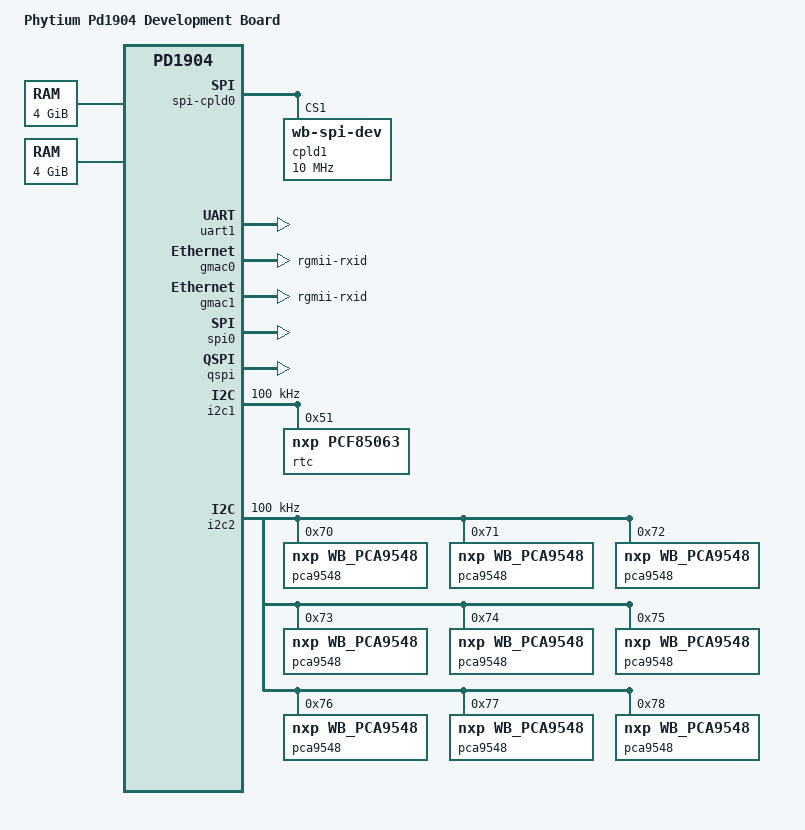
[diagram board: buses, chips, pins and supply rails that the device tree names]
// SPDX-License-Identifier: GPL-2.0
/*
 * DTS file for Phytium Pd1904 Development Board
 *
 * Copyright (c) 2018-2024 Phytium Technology Co., Ltd.
 */

/dts-v1/;
/memreserve/ 0x80000000 0x10000;

#include <ft2004v1-generic-psci-soc.dtsi>

/{
	model = "Phytium Pd1904 Development Board";
	compatible = "phytium,pd1904-devboard", "phytium,pd1904";
	#address-cells = <2>;
	#size-cells = <2>;

	chosen {
		stdout-path = "uart1:115200n8";
	};

	memory@00{
		device_type = "memory";
		reg = <0x0 0x80000000 0x1 0x00000000>;
	};

	memory@01{
		device_type = "memory";
		reg = <0x20 0x00000000 0x1 0x00000000>;
	};

/*	firmware {
		optee {
			compatible = "linaro,optee-tz";
			method = "smc";
		};
	};*/

    /* CPU通过一个GPIO产生方波，以此来发送喂狗信号给底板CPLD */
    hw_watchdog {
        compatible = "snps,ft-wdt";
        gpio_base=<0x28004000>;     /* GPIO基地址 */
        gpio_size=<0x100>;
        gpio_wdi=<15>;              /* GPIO0_A6中断后，会去设置GPIO0_B7，产生方波，让CPU发送喂狗信号给底板CPLD */
        gpio_irq=<6>;               /* GPIO0_A6接收CPLD产生的方波，产生中断 */
        irq_type=<0x00000001>;      /* GPIO0_A6 GPIO中断触发类型：1 - 上升沿 2 - 下降沿，4 - 高电平，8 - 低电平 */
        timeout_ms=<10>;
    };
        
    /* CPU板上的CPLD，通过LPC总线进行访问 */
    cpld0 {
        io_dev_name = "cpld0";
        compatible = "wb-io-dev";
        io_type = /bits/ 8 <0x1>;       /* 0:ioport, 1:iomen */
        io_base = <0x20000000>;
        io_len  = <0x0100>;
    };

    /* CPU板上的CPLD模拟的SPI控制器 */
    spi-cpld0 {
        compatible = "spi-cpld";
        reg = <0x0 0x20000000 0x0 0x100000>;
        #address-cells = <1>;
        #size-cells = <0>;

        /* CPLD模拟的SPI控制器下挂了3个CPLD，分别为主CPLD、从CPLD、风扇板CPLD，3个CPLD只使用了一个片选，
         * CPLD通过地址来进行区分。作为SPI设备，其在SPI master注册时会被创建出来 */
        cpld1:cpld1 {
            compatible = "wb-spi-dev";
            reg = <0x1>;                         /* 指定spi设备使用的片选信号。即spi->chip_select */
            spi-max-frequency = <10000000>;      /* 指定spi设备工作的最大频率。即spi->max_speed_hz */

            spi_dev_name      = "cpld1";         /* 生成的misc设备的名称 */
            data_bus_width    = <1>;             /* spi设备的数据位宽，单位B */
            addr_bus_width    = <2>;             /* spi设备的地址位宽，单位B。该设备采用cmd(1B) + addr(2B) + data(1-8B)的数据格式 */
            per_rd_len        = <1>;             /* 一次SPI数据传输，最大读取的数据长度。目前是由于spi控制器数据buf最大为8B，但cpld按1B读写，故这里只能配1 */
            per_wr_len        = <1>;             /* 一次SPI数据传输，最大写入的数据长度。目前是由于spi控制器数据buf最大为8B，但cpld按1B读写，故这里只能配1 */
            spi_len           = <0x10000>;
        };
        
        //fan-cpld-flash {
          //  compatible = "jedec,spi-nor";
          //  reg = <0x2>;                        /* 片选2 */
          //  spi-max-frequency = <1000000>;      /* SPI设备操作的最大频率 */
            /* 1. 鉴于该Flash支持MODE0和MODE3，CS#，数据MSB先出，4线SPI模式, 故如下的配置不添加：
             * spi-cpha;spi-cpol;spi-cs-high;spi-3wire;spi-lsb-first;spi-tx-bus-width = <0x1>;
             * spi-rx-bus-width = <0x1>;
             * 2. 如有必要，代码中对spi设备的bits_per_word进行适配，然后进行spi_setup
             * dts抽出的spi设备，其数据位宽bits_per_word默认设置成8. 该变量需要与控制器一致
             */
        //};
    };
    
    watchdog@2800a000 {
        compatible = "arm,sbsa-gwdt";
        #address-cells = <2>;
        #size-cells = <2>;
        reg = <0x0 0x2800a000 0 0x1000>,
              <0x0 0x2800b000 0 0x1000>;
        interrupts = <GIC_SPI 48 IRQ_TYPE_LEVEL_HIGH>;
        timeout-sec = <10>;
    };
};

&uart1 {
	status = "ok";
};

&gmac0 {
	status = "ok";
	phy-mode = "rgmii-rxid";
};

&gmac1 {
	status = "ok";
	phy-mode = "rgmii-rxid";
};

&spi0 {
	status = "ok";
};

&qspi {
	status = "ok";
};

&i2c1 {
    clock-frequency = <100000>;
    
    /* sda保持时间配置，保证I2C外设不会因为SDA的保持时间不够而报I2C TX abort：lost arbitrary的错误 */
    i2c-sda-hold-time-ns = <100>;

    /* 只有status = "ok" or "okay"的I2C设备节点才会被创建出平台设备 */
    status = "ok";
    
    #address-cells = <1>;
    #size-cells = <0>;
    
    rtc@51 {
        compatible = "nxp,pcf85063";
        reg = <0x51>;
        cap-mode = <0x1>;
        clock-freq = <0x7>;
    };
};

&i2c2 {
    clock-frequency = <100000>;
    
    /* sda保持时间配置，保证I2C外设不会因为SDA的保持时间不够而报I2C TX abort：lost arbitrary的错误 */
    i2c-sda-hold-time-ns = <100>;
    
    status = "ok";
    
    #address-cells = <1>;
    #size-cells = <0>;
    
    /************** 主CPLD上模拟的PCA9548, PCA9548复位通过主CPLD内部寄存器进行控制 **************/
    pca9548@70 {
        /* 通过id_table和驱动匹配 */
        compatible = "nxp,wb_pca9548";
        
        /* 用来指定pca9548的i2c从地址 */
        reg = <0x70>;
        
        /* 用来指明其从设备reg的属性只有一个addr单元 */
        #address-cells = <1>;
        #size-cells = <0>;

        probe_disable;                      /* 启动过程中，不做smbus读写，直接创建出I2C设备 */

        select_chan_check;                  /* 开启9548通道时，检查是否打开通道成功，如果失败，会进行PCA9548复位 */
        close_chan_force_reset;             /* 关闭9548通道时，强制进行PCA9548复位 */
        
        pca9548_reset_type = <4>;           /* 1:I2C  2:GPIO  3:IO  4:FILE */
        /* 复位前 + 复位过程 + 复位后 的延迟时间，单位us */
        rst_delay_b = <1>;
        rst_delay   = <2>;                   /* S6231 CPLD模拟的PCA9548复位时间间隔约为120ns，故这里设备为2us */
        rst_delay_a = <1>;
        dev_name  = "/dev/cpld1";            /* 复位时，要操作的设备文件 */
        offset    = <0x205c>;                /* 复位时，要操作的寄存器地址 */
        mask      = <0x01>;                  /* 掩码，要操作哪个bit，就把哪个bit置1 */
        reset_on  = <0x00>;                  /* 低电平复位时，则填0；否则和mask一致 */
        reset_off = <0x01>;                  /* 低电平复位时，和mask一致，否则填0 */
    };
    
    pca9548@71 {
        compatible = "nxp,wb_pca9548";
        reg = <0x71>;
        #address-cells = <1>;
        #size-cells = <0>;

        probe_disable;                      /* 启动过程中，不做smbus读写，直接创建出I2C设备 */

        select_chan_check;                  /* 开启9548通道时，检查是否打开通道成功，如果失败，会进行PCA9548复位 */
        close_chan_force_reset;             /* 关闭9548通道时，强制进行PCA9548复位 */
        
        pca9548_reset_type = <4>;           /* 1:I2C  2:GPIO  3:IO  4:FILE */
        rst_delay_b = <1>;
        rst_delay   = <2>;
        rst_delay_a = <1>;

        dev_name  = "/dev/cpld1";            /* 复位时，要操作的设备文件 */
        offset    = <0x205c>;                /* 复位时，要操作的寄存器地址 */
        mask      = <0x02>;                  /* 掩码，要操作哪个bit，就把哪个bit置1 */
        reset_on  = <0x00>;
        reset_off = <0x02>;
    };
    
    pca9548@72 {
        compatible = "nxp,wb_pca9548";
        reg = <0x72>;
        #address-cells = <1>;
        #size-cells = <0>;
        probe_disable;                      /* 启动过程中，不做smbus读写，直接创建出I2C设备 */

        select_chan_check;                  /* 开启9548通道时，检查是否打开通道成功，如果失败，会进行PCA9548复位 */
        close_chan_force_reset;             /* 关闭9548通道时，强制进行PCA9548复位 */
        
        pca9548_reset_type = <4>;           /* 1:I2C  2:GPIO  3:IO  4:FILE */
        rst_delay_b = <1>;
        rst_delay   = <2>;
        rst_delay_a = <1>;

        dev_name  = "/dev/cpld1";            /* 复位时，要操作的设备文件 */
        offset    = <0x205c>;                /* 复位时，要操作的寄存器地址 */
        mask      = <0x04>;                  /* 掩码，要操作哪个bit，就把哪个bit置1 */
        reset_on  = <0x00>;
        reset_off = <0x04>;
    };
    
    pca9548@73 {
        compatible = "nxp,wb_pca9548";
        reg = <0x73>;
        #address-cells = <1>;
        #size-cells = <0>;
        probe_disable;                      /* 启动过程中，不做smbus读写，直接创建出I2C设备 */

        select_chan_check;                  /* 开启9548通道时，检查是否打开通道成功，如果失败，会进行PCA9548复位 */
        close_chan_force_reset;             /* 关闭9548通道时，强制进行PCA9548复位 */
        
        pca9548_reset_type = <4>;           /* 1:I2C  2:GPIO  3:IO  4:FILE */
        rst_delay_b = <1>;
        rst_delay   = <2>;
        rst_delay_a = <1>;

        dev_name  = "/dev/cpld1";            /* 复位时，要操作的设备文件 */
        offset    = <0x205c>;                /* 复位时，要操作的寄存器地址 */
        mask      = <0x08>;                  /* 掩码，要操作哪个bit，就把哪个bit置1 */
        reset_on  = <0x00>;
        reset_off = <0x08>;

        mux-2@2{
            #address-cells = <1>;
            #size-cells = <0>;
            reg = <2>;
        };
    };
    
    /************** 从CPLD上模拟的PCA9548 **************/
    pca9548@74 {
        compatible = "nxp,wb_pca9548";
        reg = <0x74>;
        #address-cells = <1>;
        #size-cells = <0>;
        probe_disable;                      /* 启动过程中，不做smbus读写，直接创建出I2C设备 */

        select_chan_check;                  /* 开启9548通道时，检查是否打开通道成功，如果失败，会进行PCA9548复位 */
        close_chan_force_reset;             /* 关闭9548通道时，强制进行PCA9548复位 */
        
        pca9548_reset_type = <4>;           /* 1:I2C  2:GPIO  3:IO  4:FILE */
        rst_delay_b = <1>;
        rst_delay   = <2>;
        rst_delay_a = <1>;

        dev_name  = "/dev/cpld1";            /* 复位时，要操作的设备文件 */
        offset    = <0x404a>;                /* 复位时，要操作的寄存器地址 */
        mask      = <0x01>;                  /* 掩码，要操作哪个bit，就把哪个bit置1 */
        reset_on  = <0x00>;
        reset_off = <0x01>;
    };
    
    pca9548@75 {
        compatible = "nxp,wb_pca9548";
        reg = <0x75>;
        #address-cells = <1>;
        #size-cells = <0>;
        probe_disable;                      /* 启动过程中，不做smbus读写，直接创建出I2C设备 */

        select_chan_check;                  /* 开启9548通道时，检查是否打开通道成功，如果失败，会进行PCA9548复位 */
        close_chan_force_reset;             /* 关闭9548通道时，强制进行PCA9548复位 */
        
        pca9548_reset_type = <4>;           /* 1:I2C  2:GPIO  3:IO  4:FILE */
        rst_delay_b = <1>;
        rst_delay   = <2>;
        rst_delay_a = <1>;

        dev_name  = "/dev/cpld1";            /* 复位时，要操作的设备文件 */
        offset    = <0x404a>;                /* 复位时，要操作的寄存器地址 */
        mask      = <0x02>;                  /* 掩码，要操作哪个bit，就把哪个bit置1 */
        reset_on  = <0x00>;
        reset_off = <0x02>;
    };
    
    pca9548@76 {
        compatible = "nxp,wb_pca9548";
        reg = <0x76>;
        #address-cells = <1>;
        #size-cells = <0>;
        probe_disable;                      /* 启动过程中，不做smbus读写，直接创建出I2C设备 */

        select_chan_check;                  /* 开启9548通道时，检查是否打开通道成功，如果失败，会进行PCA9548复位 */
        close_chan_force_reset;             /* 关闭9548通道时，强制进行PCA9548复位 */
        
        pca9548_reset_type = <4>;           /* 1:I2C  2:GPIO  3:IO  4:FILE */
        rst_delay_b = <1>;
        rst_delay   = <2>;
        rst_delay_a = <1>;

        dev_name  = "/dev/cpld1";            /* 复位时，要操作的设备文件 */
        offset    = <0x404a>;                /* 复位时，要操作的寄存器地址 */
        mask      = <0x04>;                  /* 掩码，要操作哪个bit，就把哪个bit置1 */
        reset_on  = <0x00>;
        reset_off = <0x04>;
    };
    
    pca9548@77 {
        compatible = "nxp,wb_pca9548";
        reg = <0x77>;
        #address-cells = <1>;
        #size-cells = <0>;
        probe_disable;                      /* 启动过程中，不做smbus读写，直接创建出I2C设备 */

        select_chan_check;                  /* 开启9548通道时，检查是否打开通道成功，如果失败，会进行PCA9548复位 */
        close_chan_force_reset;             /* 关闭9548通道时，强制进行PCA9548复位 */
        
        pca9548_reset_type = <4>;           /* 1:I2C  2:GPIO  3:IO  4:FILE */
        rst_delay_b = <1>;
        rst_delay   = <2>;
        rst_delay_a = <1>;

        dev_name  = "/dev/cpld1";            /* 复位时，要操作的设备文件 */
        offset    = <0x404a>;                /* 复位时，要操作的寄存器地址 */
        mask      = <0x08>;                  /* 掩码，要操作哪个bit，就把哪个bit置1 */
        reset_on  = <0x00>;
        reset_off = <0x08>;
    };
    
    /************** 风扇板CPLD上模拟的PCA9548 **************/
    pca9548@78 {
        compatible = "nxp,wb_pca9548";
        reg = <0x78>;
        #address-cells = <1>;
        #size-cells = <0>;
        probe_disable;                      /* 启动过程中，不做smbus读写，直接创建出I2C设备 */

        select_chan_check;                  /* 开启9548通道时，检查是否打开通道成功，如果失败，会进行PCA9548复位 */
        close_chan_force_reset;             /* 关闭9548通道时，强制进行PCA9548复位 */
        
        pca9548_reset_type = <4>;           /* 1:I2C  2:GPIO  3:IO  4:FILE */
        rst_delay_b = <1>;
        rst_delay   = <2>;
        rst_delay_a = <1>;

        dev_name  = "/dev/cpld1";            /* 复位时，要操作的设备文件 */
        offset    = <0x805b>;                /* 复位时，要操作的寄存器地址 */
        mask      = <0x01>;                  /* 掩码，要操作哪个bit，就把哪个bit置1 */
        reset_on  = <0x00>;
        reset_off = <0x01>;
    };
};
